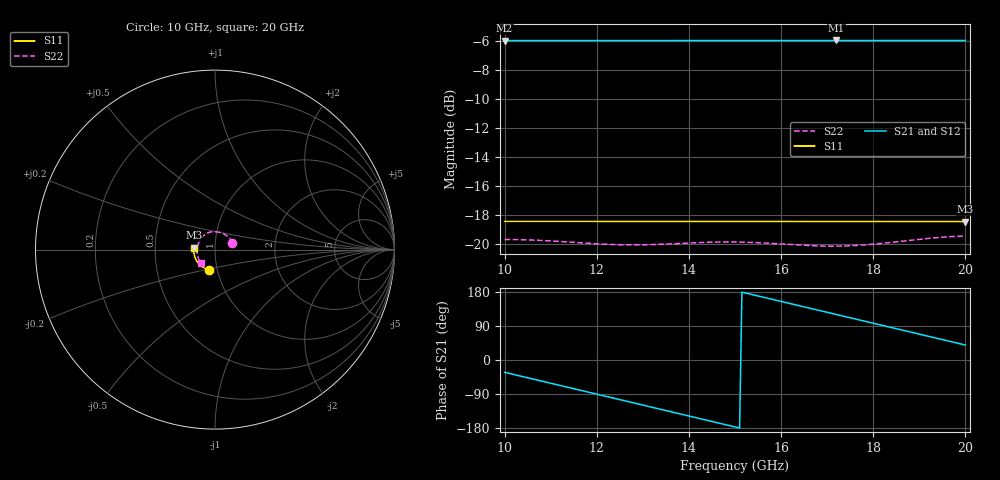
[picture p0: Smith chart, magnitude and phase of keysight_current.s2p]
! Latest Keysight user-provided characterization, 2026-10-09
! S11 matches archived M130; current S21=S12 and S22 separately transcribed
# Hz S DB R 50
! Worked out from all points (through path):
!   201 points, 10 GHz to 20 GHz, reference 50 ohm
!   highest |S21| = -6.00 dB at 17.2 GHz (marker M1); lowest = -6.0 dB at 10 GHz (marker M2)
!   lowest |S11| = -18.5 dB at 20 GHz (marker M3), VSWR 1.27, Z = 39.4 + j0.904 ohm
!   |S11| at or under -10 dB: start of sweep to end of sweep
!   |S22| runs from -20.2 to -19.4 dB; largest |S21 - S12| = 0
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1e10  -18.45 -106.8  -6.00 -32.5  -6.00 -32.5  -19.69 21.1
1.045e10  -18.45 -110.4  -6.00 -45.5  -6.00 -45.5  -19.71 29.5
1.09e10  -18.45 -113.9  -6.00 -58.5  -6.00 -58.5  -19.77 37.9
1.13e10  -18.45 -117.1  -6.00 -70.0  -6.00 -70.0  -19.85 45.7
1.17e10  -18.45 -120.2  -6.00 -81.5  -6.00 -81.5  -19.93 53.6
1.21e10  -18.45 -123.4  -6.00 -93.1  -6.00 -93.1  -20.01 61.9
1.25e10  -18.45 -126.6  -6.00 -104.6  -6.00 -104.6  -20.05 70.3
1.29e10  -18.45 -129.7  -6.00 -116.1  -6.00 -116.1  -20.06 78.8
1.335e10  -18.45 -133.3  -6.00 -129.1  -6.00 -129.1  -20.03 88.3
1.42e10  -18.45 -140.0  -6.00 -153.6  -6.00 -153.6  -19.91 105.5
1.46e10  -18.45 -143.1  -6.00 -165.1  -6.00 -165.1  -19.87 113.3
1.5e10  -18.45 -146.3  -6.00 -176.6  -6.00 -176.6  -19.87 121.0
1.54e10  -18.45 -149.4  -6.00 171.9  -6.00 171.9  -19.90 128.7
1.585e10  -18.45 -152.9  -6.00 158.9  -6.00 158.9  -19.97 137.6
1.625e10  -18.45 -156.1  -6.00 147.4  -6.00 147.4  -20.05 145.8
1.67e10  -18.45 -159.6  -6.00 134.4  -6.00 134.4  -20.13 155.3
1.72e10  -18.45 -163.5  -6.00 120.0  -6.00 120.0  -20.15 166.3
1.78e10  -18.45 -168.2  -6.00 102.8  -6.00 102.8  -20.07 179.5
1.835e10  -18.45 -172.5  -6.00 86.9  -6.00 86.9  -19.91 -168.8
1.875e10  -18.45 -175.7  -6.00 75.4  -6.00 75.4  -19.76 -160.7
1.915e10  -18.45 -178.8  -6.00 63.9  -6.00 63.9  -19.63 -153.0
2e10  -18.46 174.6  -6.00 39.5  -6.00 39.5  -19.45 -137.2
